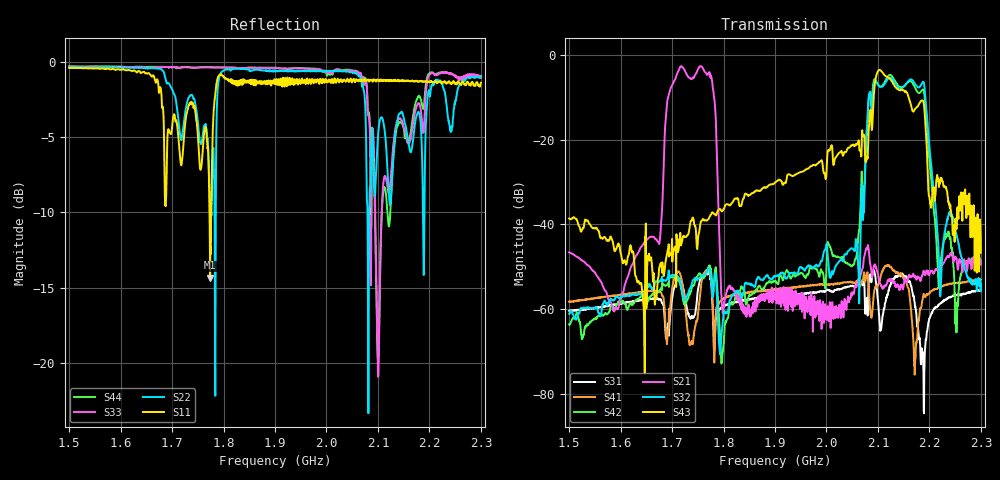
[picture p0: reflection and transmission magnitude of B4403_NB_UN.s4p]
! Matrix data file written by TouchstoneData, EPCOS AG
! FILENAME: "newformat_AA36A_x6y6_NB.s4p"
! COMMENT: "(AA36A_x6y6_NB.s4p) EPCOS AG 15.06.2012 10:1"
! INFO: nport=4, nfreq=1601
! DATE: "Mon Aug  6 18:24:58 2012"
! USER: "Michael Schemies"
! port | pin | signal
!  1  |  3  |  Tx
!  2  |  6  |  Ant
!  3  |  8  |  Rx
!  4  |  1  |  Rx
# MHZ S MA R 50
! freq  magS11 angS11  magS12 angS12  magS13 angS13  magS14 angS14  ...
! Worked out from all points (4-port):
!   1601 points, 1.5 GHz to 2.3 GHz, reference 50 ohm
!   strongest paths, dB at 1.5 GHz, 1.7 GHz, 1.9 GHz, 2.1 GHz, 2.3 GHz:
!     S43: -38.6, -43.4, -30.1, -3.8, -46.7
!     S32: -61.1, -52.1, -52.2, -7.0, -54.2
!     S21: -46.6, -7.1, -56.6, -51.7, -49.5
!     S42: -63.6, -52.5, -53.2, -6.9, -48.5
!     S41: -58.3, -55.5, -55.3, -54.3, -53.0
!     S31: -60.4, -57.5, -57.1, -57.9, -55.6
!   lowest |S11| = -14.3 dB at 1.774 GHz (marker M1), VSWR 1.47, Z = 56.8 - j19.7 ohm
!   |S11| at or under -10 dB: 1.772778 GHz to 1.775897 GHz (3.119 MHz wide, 0.176 % of centre)
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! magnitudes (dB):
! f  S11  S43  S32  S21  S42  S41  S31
! 1.5 GHz  -0.4  -38.6  -61.1  -46.6  -63.6  -58.3  -60.4
! 1.593 GHz  -0.5  -45.5  -57.1  -59.8  -59.0  -56.7  -58.9
! 1.774 GHz  -14.3  -37.9  -51.4  -4.5  -50.3  -51.4  -52.2
! 1.8 GHz  -0.9  -36.5  -61.9  -59.4  -69.0  -57.6  -59.3
! 2.062 GHz  -1.3  -20.3  -50.7  -53.0  -42.5  -53.1  -54.3
! 2.123 GHz  -1.2  -5.6  -5.3  -53.4  -4.7  -50.0  -54.6
! 2.3 GHz  -1.4  -46.7  -54.2  -49.5  -48.5  -53.0  -55.6
